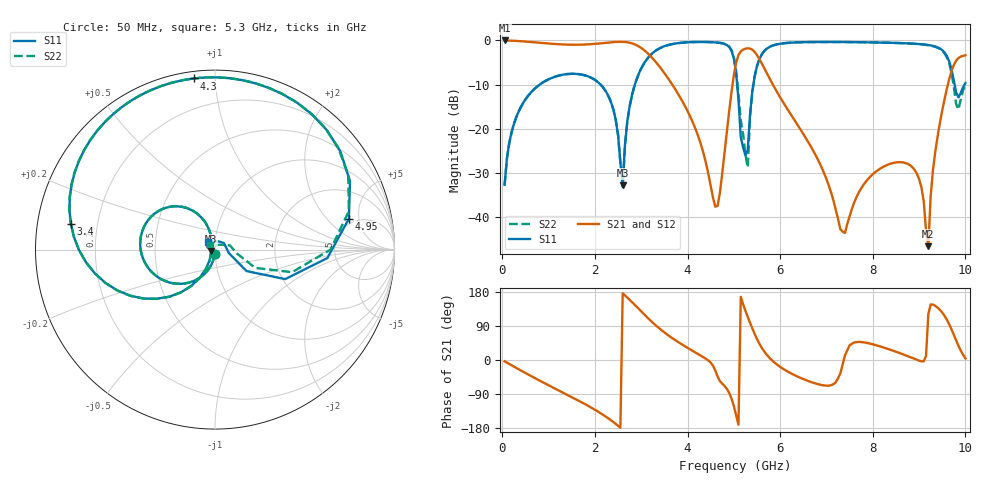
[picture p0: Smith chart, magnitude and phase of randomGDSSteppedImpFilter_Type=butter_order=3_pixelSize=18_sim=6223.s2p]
! freq	dB(S11)	phase(S11)	dB(S12)	phase(S12)
!  dB(S21)	phase(S21)	dB(S22)	phase(S22)
!S-par simulation data
#  GHz  S  DB  R 50
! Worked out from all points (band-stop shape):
!   200 points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, 50 MHz to 10 GHz, reference 50 ohm
!   highest |S21| = -0.01 dB at 50 MHz (marker M1); lowest = -46.6 dB at 9.2 GHz (marker M2)
!   |S21| within 3 dB of the highest: start of sweep to 3.15 GHz; 5.118 GHz to 5.478 GHz (360.3 MHz wide, 6.8 % of centre)
!   lowest |S11| = -32.8 dB at 2.6 GHz (marker M3), VSWR 1.05, Z = 47.9 - j0.891 ohm
!   |S11| at or under -10 dB: start of sweep to 806.8 MHz; 2.122 GHz to 2.863 GHz (741 MHz wide, 29.7 % of centre); 5.071 GHz to 5.421 GHz (349.9 MHz wide, 6.67 % of centre) (the widest 3 of 4)
!   |S22| runs from -33.2 to -0.3 dB; largest |S21 - S12| = 0
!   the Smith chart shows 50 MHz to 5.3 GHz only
!   S11 on the Smith chart (normalised r, x): 50 MHz: 1.00, -0.05; 3.4 GHz: 0.10, +0.09; 4.3 GHz: 0.04, +0.88; 4.95 GHz: 4.40, +3.65; 5.3 GHz: 0.92, +0.08
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0.05  -32.69 -93.4  -0.01 -3.5  -0.01 -3.5  -32.69 -93.4
0.5  -13.35 -124.8  -0.25 -34.3  -0.25 -34.3  -13.35 -124.8
1.75  -7.82 155.9  -0.94 -114.0  -0.94 -114.0  -7.82 155.8
2.35  -14.04 113.5  -0.42 -159.3  -0.42 -159.3  -14.04 113.1
2.6  -32.76 -156.2  -0.32 176.0  -0.32 176.0  -33.16 -154.8
2.85  -10.43 -128.3  -0.85 146.8  -0.85 146.8  -10.43 -128.1
3.4  -1.77 169.9  -5.99 82.5  -5.99 82.5  -1.77 169.9
4.3  -0.35 97.0  -23.92 10.5  -23.92 10.5  -0.34 97.4
4.65  -0.50 66.4  -37.40 -43.8  -37.40 -43.8  -0.48 67.2
4.95  -2.32 13.0  -11.66 -101.8  -11.66 -101.8  -2.20 16.1
5.05  -7.45 -22.8  -5.01 -145.8  -5.01 -145.8  -6.98 -16.3
5.3  -24.75 135.3  -1.78 113.8  -1.78 113.8  -28.71 138.3
5.4  -11.42 153.9  -2.11 83.0  -2.11 83.0  -11.63 155.5
5.6  -3.22 115.6  -5.14 32.8  -5.14 32.8  -3.23 115.1
6.7  -0.36 26.1  -24.69 -59.5  -24.69 -59.5  -0.36 25.4
7.4  -0.37 -6.1  -43.56 12.3  -43.56 12.3  -0.37 -6.8
8.35  -0.52 -45.9  -28.01 28.3  -28.01 28.3  -0.53 -46.8
8.95  -0.78 -73.5  -30.10 0.7  -30.10 0.7  -0.80 -74.8
9.2  -1.05 -88.1  -46.55 121.5  -46.55 121.5  -1.09 -90.0
9.5  -2.20 -114.6  -15.85 125.0  -15.85 125.0  -2.35 -118.1
9.85  -12.88 -112.6  -3.99 37.5  -3.99 37.5  -15.62 -105.7
10  -9.64 -94.0  -3.38 4.1  -3.38 4.1  -10.02 -85.6
